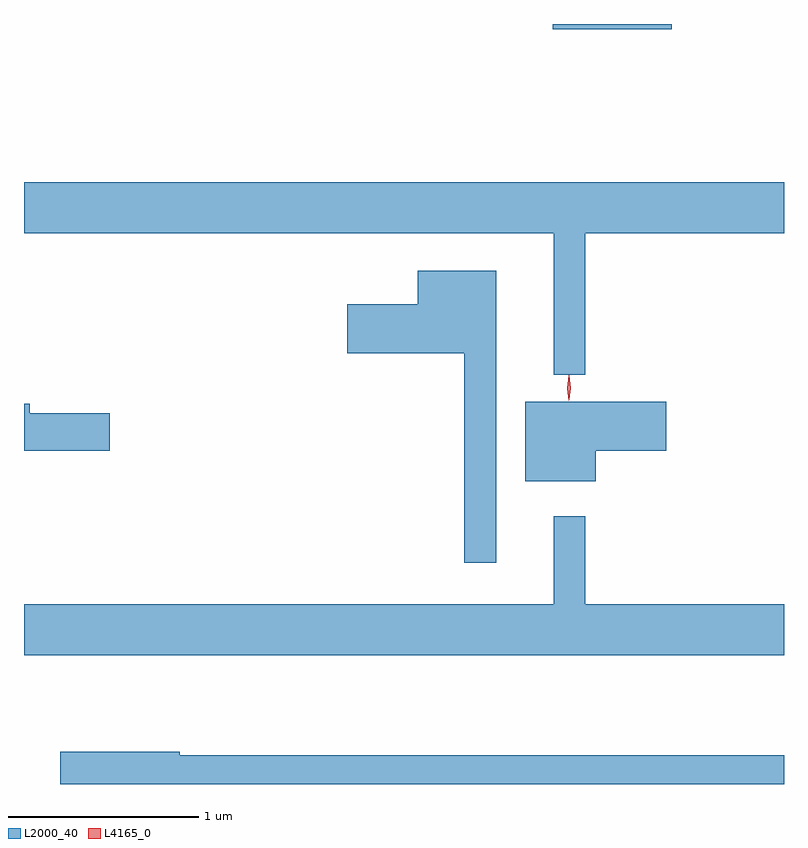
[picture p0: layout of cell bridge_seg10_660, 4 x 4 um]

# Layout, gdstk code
import gdstk
lib = gdstk.Library(unit=1e-6, precision=1e-09)
def R(c, l, rs):  # rectangles x0, y0, x1, y1
    for r in rs: c.add(gdstk.rectangle(r[:2], r[2:], *l))
def P(c, l, *ps):  # polygons
    for p in ps: c.add(gdstk.Polygon(p, *l))
L2000_40 = (2000, 40)
L4165_0 = (4165, 0)

bridge_seg10_660 = lib.new_cell('bridge_seg10_660')
R(bridge_seg10_660, L2000_40, [(1005.586,2146.071,1006.214,2146.098)])
P(bridge_seg10_660, L2000_40, [(1005.759,2144.996),(1006.804,2144.996),(1006.804,2145.264),(1002.804,2145.264),(1002.804,2144.996),(1005.591,2144.996),(1005.591,2144.253),(1005.759,2144.253)],
  [(1005.289,2144.799),(1004.876,2144.799),(1004.876,2144.624),(1004.506,2144.624),(1004.506,2144.366),(1005.121,2144.366),(1005.121,2143.263),(1005.289,2143.263)],
  [(1005.814,2143.851),(1006.184,2143.851),(1006.184,2144.109),(1005.441,2144.109),(1005.441,2143.691),(1005.814,2143.691)],
  [(1003.254,2144.049),(1002.834,2144.049),(1002.834,2144.099),(1002.804,2144.099),(1002.804,2143.851),(1003.254,2143.851)],
  [(1006.804,2143.044),(1005.759,2143.044),(1005.759,2143.508),(1005.591,2143.508),(1005.591,2143.044),(1002.804,2143.044),(1002.804,2142.776),(1006.804,2142.776)],
  [(1006.804,2142.249),(1003.624,2142.249),(1003.624,2142.269),(1002.996,2142.269),(1002.996,2142.098),(1006.804,2142.098)])
P(bridge_seg10_660, L4165_0, [(1005.672,2144.12),(1005.672,2144.121),(1005.662,2144.184),(1005.672,2144.246),(1005.672,2144.247),(1005.673,2144.246),(1005.682,2144.184),(1005.673,2144.121)],
  [(1005.67,2144.114),(1005.662,2144.182),(1005.672,2144.25),(1005.672,2144.25),(1005.673,2144.25),(1005.681,2144.182),(1005.671,2144.114),(1005.671,2144.114)])

lib.write_gds('bridge_seg10_660.gds')
